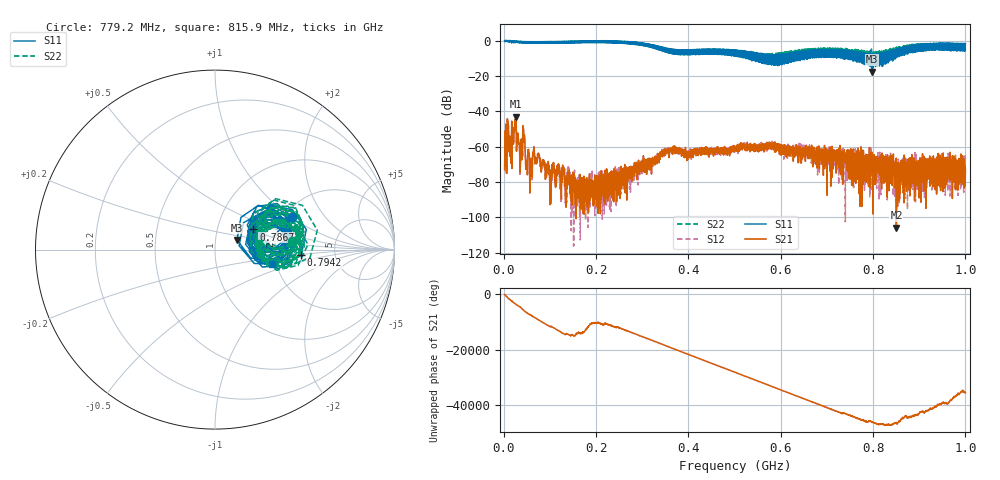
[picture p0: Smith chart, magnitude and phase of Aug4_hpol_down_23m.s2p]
!Keysight Technologies N9923A: A.12.45
!Date: Tuesday, 05 August 2025 18:28:47
!Timezone: (UTC+08:00) Kuala Lumpur, Singapore
!Model: N9923A
!Serial: MY61181427
!GPS Latitude:
!GPS Longitude:
!GPS TimeStamp: 0001-01-01 00:00:00Z
!GPS Seconds Since Last Read: 0
!CHECKSUM:1958314227
!Correction: S11(ON U)S21(ON U)S12(ON U)S22(ON U)
!S2P File: Measurements:S11,S21,S12,S22:
# Hz S DB R 50
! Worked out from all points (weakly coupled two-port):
!   4001 points, 2 MHz to 1 GHz, reference 50 ohm
!   highest |S21| = -43.09 dB at 26.7 MHz (marker M1); lowest = -105.9 dB at 850.5 MHz (marker M2)
!   lowest |S11| = -17.5 dB at 796.9 MHz (marker M3), VSWR 1.31, Z = 63.5 + j6.97 ohm
!   |S11| at or under -10 dB: 569.0782 MHz to 569.8769 MHz (798.8 kHz wide, 0.14 % of centre); 575.8251 MHz to 576.658 MHz (833 kHz wide, 0.145 % of centre); 582.5616 MHz to 583.4105 MHz (849 kHz wide, 0.146 % of centre)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
!   |S22| runs from -13.9 to 0.1 dB; largest |S21 - S12| = 0.0011
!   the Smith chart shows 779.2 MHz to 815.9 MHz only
!   S11 on the Smith chart (normalised r, x): 779.2 MHz: 2.17, +1.01; 786.7 MHz: 1.49, +0.36; 794.2 MHz: 2.84, -0.23; 815.9 MHz: 1.90, -0.35
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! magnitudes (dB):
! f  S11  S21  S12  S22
! 2 MHz  -0.1  -73.1  -71.4  -0.1
! 7.489 MHz  -0.5  -60.6  -61.0  -0.4
! 16.22 MHz  -0.3  -69.6  -68.0  -0.3
! 26.7 MHz  -0.2  -43.1  -42.9  -0.7
! 32.44 MHz  -0.9  -58.5  -58.3  -0.9
! 41.92 MHz  -0.7  -48.1  -48.0  -0.7
! 52.65 MHz  -1.5  -62.2  -61.9  -1.3
! 67.37 MHz  -1.0  -69.8  -68.6  -1.0
! 101.8 MHz  -0.8  -92.3  -82.4  -0.8
! 168.4 MHz  -1.2  -86.6  -81.8  -1.0
! 255.7 MHz  -1.5  -77.2  -77.7  -1.3
! 334.8 MHz  -4.1  -66.2  -65.7  -4.8
! 501 MHz  -6.0  -61.8  -59.9  -7.0
! 667.4 MHz  -8.7  -60.4  -61.8  -8.2
! 779.2 MHz  -6.7  -62.4  -63.4  -7.3
! 786.7 MHz  -12.3  -70.0  -79.2  -7.3
! 794.2 MHz  -6.3  -82.0  -73.2  -10.7
! 796.9 MHz  -17.5  -64.9  -70.3  -7.1
! 815.9 MHz  -9.6  -70.9  -65.0  -12.2
! 833.8 MHz  -9.2  -66.3  -71.2  -5.4
! 850.5 MHz  -6.3  -105.9  -95.2  -3.7
! 1 GHz  -1.7  -74.6  -71.5  -3.4
